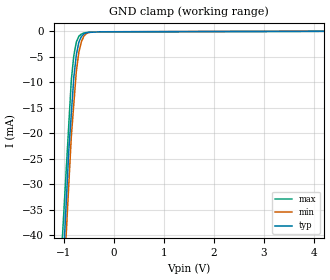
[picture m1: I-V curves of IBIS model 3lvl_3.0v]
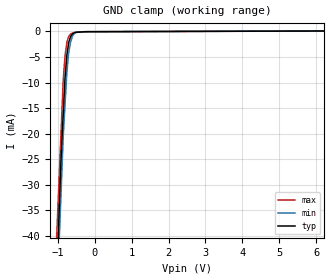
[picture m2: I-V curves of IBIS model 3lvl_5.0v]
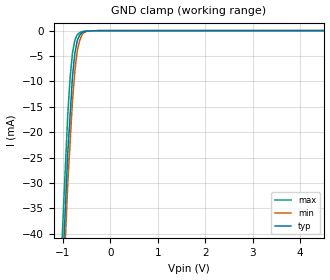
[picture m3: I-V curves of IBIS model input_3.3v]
| Teraspeed Labs Modeling Services.
| http://www.teraspeedlabs.com
[IBIS Ver]  4.0
[File Name] ltc4306iufd.ibs
[File Rev]  3.0
[Source]  Measured and created by Teraspeed Labs
[Date]   02/04/2019
[Notes]   Quality Check of this IBIS model: Model Passes IBIS Check
   Model parses into ICX IS. Simulation done with Hyperlynx.
   1. MIN TYP MAX information is based on Temperature and
   Voltage characteristics only.
   2. Package data gained using Tektronix Iconnect Software.
[Disclaimer]
| Use: Teraspeed (R) Labs has licensed Teraspeed (R) AccuModel (tm)
| IBIS models to specific integrated circuit suppliers ("IC Vendors")
| for use and distribution as  follows: Each IC Vendor may use IBIS
| Models, and distribute them to IC Vendor's customers to use solely
| for developing printed circuit board designs. Users of this model may
| modify the IBIS model to suit its specific applications but
| rights to derivative works and such modifications shall belong
| to Teraspeed (R) Labs. No other distribution of these materials is
| permitted.
| DISCLAIMER OF WARRANTY: UNLESS OTHERWISE AGREED TO IN WRITING
| TERASPEED (R) LABS DISCLAIMS AND USER WAIVES ALL WARRANTIES,
| EXPRESS OR IMPLIED, INCLUDING WARRANTIES OF MERCHANTABILITY AND
| FITNESS FOR A PARTICULAR PURPOSE. IN NO EVENT SHALL
| TERASPEED BE LIABLE FOR ANY DIRECT OR INDIRECT DAMAGES,
| WHETHER IN CONTRACT OR TORT, INCLUDING, WITHOUT LIMITATION,
| LOST PROFITS, BUSINESS INTERRUPTION, OR LOST INFORMATION
| ARISING OUT OF THE USE OF OR THE INABILITY TO USE THE MODEL,
| EVEN IF TERASPEED (R) Labs HAS BEEN ADVISED OF THE POSSIBILITY
| OF SUCH DAMAGES.
[Copyright]
| This file is the legal property of Teraspeed Labs Copyright(c) 2019.
| All other rights are reserved.
[Component]   LTC4306IUFD
[Manufacturer] Analog Devices
| Data Sheet Ver: 4306f
[Package]
| UFD Package: 24 Lead(4mm x 5mm) Plastic QFN
| variable   typ   min   max
R_pkg  1.000E-02  1.000E-02  1.000E-02
L_pkg  2.413E-09  1.780E-09  2.620E-09
C_pkg  7.874E-13  6.920E-13  8.900E-12
[Pin] signal_name  model_name  R_pin  L_pin C_pin
1   *ALERT   od_out   1.000E-02   2.150E-09   8.900E-13
2   SDAIN   i2c_io   1.000E-02   2.160E-09   8.410E-13
3   GND   GND   1.000E-02   2.170E-09   7.920E-13
4   SCLIN   i2c_io   1.000E-02   2.180E-09   7.430E-13
5   ENABLE   enable_in   1.000E-02   2.170E-09   7.920E-13
6   VCC   POWER   1.000E-02   2.160E-09   8.410E-13
7   *ALERT4   alert_in   1.000E-02   2.150E-09   8.900E-13
8   GPIO1   gpio1   1.000E-02   1.780E-09   6.920E-13
9   GPIO2   gpio2   1.000E-02   2.200E-09   7.420E-13
10   ADR0   i2c_add   1.000E-02   2.620E-09   7.920E-13
11   ADR1   i2c_add   1.000E-02   2.200E-09   7.420E-13
12   ADR2   i2c_add   1.000E-02   1.780E-09   6.920E-13
13   READY   od_out   1.000E-02   2.150E-09   8.900E-13
14   SDA4   i2c_io4   1.000E-02   2.160E-09   8.410E-13
15   SCL4   i2c_io4   1.000E-02   2.170E-09   7.920E-13
16   SCL1   i2c_io1   1.000E-02   2.180E-09   7.430E-13
17   SDA1   i2c_io1   1.000E-02   2.170E-09   7.920E-13
18   *ALERT1   alert_in   1.000E-02   2.160E-09   8.410E-13
19   *ALERT3   alert_in   1.000E-02   2.150E-09   8.900E-13
20   SDA2   i2c_io2   1.000E-02   1.780E-09   6.920E-13
21   SCL2   i2c_io2   1.000E-02   2.200E-09   7.420E-13
22   *ALERT2   alert_in   1.000E-02   2.620E-09   7.920E-13
23   SCL3   i2c_io3   1.000E-02   2.200E-09   7.420E-13
24   SDA3   i2c_io3   1.000E-02   1.780E-09   6.920E-13
25   EPAD   GND   0.000E+00   0.000E+00   0.000E+00
[Model selector] alert_in
input_3.0v   alert input,vcc=3.0v
input_3.3v   alert input,vcc=3.3v
input_5.0v   alert input,vcc=5.0v
[Model selector] enable_in
input_3.0v   enable input,vcc=3.0v
input_3.3v   enable input,vcc=3.3v
input_5.0v   enable input,vcc=5.0v
[Model selector] i2c_add
3lvl_3.0v   3lvl i2c add pin,vcc=3.0v
3lvl_3.3v   3lvl i2c add pin,vcc=3.3v
3lvl_5.0v   3lvl i2c add pin,vcc=5.0v
[Model selector] gpio1
gpio_od_3.0v   open drain io,vcc=3.0v |default
gpio_od_3.3v   open drain io,vcc=3.3v |default
gpio_od_5.0v   open drain io,vcc=5.0v |default
gpio_pp_3.0v   push-pull io,vcc=3.0v
gpio_pp_3.3v   push-pull io,vcc=3.3v
gpio_pp_5.0v   push-pull io,vcc=5.0v
[Model selector] gpio2
gpio_od_3.0v   open drain io,vcc=3.0v |default
gpio_od_3.3v   open drain io,vcc=3.3v |default
gpio_od_5.0v   open drain io,vcc=5.0v |default
gpio_pp_3.0v   push-pull io,vcc=3.0v
gpio_pp_3.3v   push-pull io,vcc=3.3v
gpio_pp_5.0v   push-pull io,vcc=5.0v
[Model selector] od_out
od_3.0v   open drain out,vcc=3.0v
od_3.3v   open drain out,vcc=3.3v
od_5.0v   open drain out,vcc=5.0v
| Upstream buffers(chan in)
[Model selector] i2c_io
i2c_3.0v_pu2.5v  i2c io,3.0vcc,pu2.5v
i2c_3.0v_pu3.0v  i2c io,3.0vcc,pu3.0v
i2c_3.0v_pu3.3v  i2c io,3.0vcc,pu3.0v
i2c_3.0v_pu5.0v  i2c io,3.0vcc,pu5.0v
i2c_3.3v_pu2.5v  i2c io,3.3vcc,pu2.5v
i2c_3.3v_pu3.0v  i2c io,3.3vcc,pu3.0v
i2c_3.3v_pu3.3v  i2c io,3.3vcc,pu3.3v
i2c_3.3v_pu5.0v  i2c io,3.3vcc,pu5.0v
i2c_5.0v_pu2.5v  i2c io,5.0vcc,pu2.5v
i2c_5.0v_pu3.0v  i2c io,5.0vcc,pu3.0v
i2c_5.0v_pu3.3v  i2c io,5.0vcc,pu3.3v
i2c_5.0v_pu5.0v  i2c io,5.0vcc,pu5.0v
| Downstream buffers(chan 1 thru 4)
[Model selector] i2c_io1
i2c_3.0v_pu2.5v  i2c io,3.0vcc,pu2.5v
i2c_3.0v_pu3.0v  i2c io,3.0vcc,pu3.0v
i2c_3.0v_pu3.3v  i2c io,3.0vcc,pu3.0v
i2c_3.0v_pu5.0v  i2c io,3.0vcc,pu5.0v
i2c_3.3v_pu2.5v  i2c io,3.3vcc,pu2.5v
i2c_3.3v_pu3.0v  i2c io,3.3vcc,pu3.0v
i2c_3.3v_pu3.3v  i2c io,3.3vcc,pu3.3v
i2c_3.3v_pu5.0v  i2c io,3.3vcc,pu5.0v
i2c_5.0v_pu2.5v  i2c io,5.0vcc,pu2.5v
i2c_5.0v_pu3.0v  i2c io,5.0vcc,pu3.0v
i2c_5.0v_pu3.3v  i2c io,5.0vcc,pu3.3v
i2c_5.0v_pu5.0v  i2c io,5.0vcc,pu5.0v
[Model selector] i2c_io2
i2c_3.0v_pu2.5v  i2c io,3.0vcc,pu2.5v
i2c_3.0v_pu3.0v  i2c io,3.0vcc,pu3.0v
i2c_3.0v_pu3.3v  i2c io,3.0vcc,pu3.0v
i2c_3.0v_pu5.0v  i2c io,3.0vcc,pu5.0v
i2c_3.3v_pu2.5v  i2c io,3.3vcc,pu2.5v
i2c_3.3v_pu3.0v  i2c io,3.3vcc,pu3.0v
i2c_3.3v_pu3.3v  i2c io,3.3vcc,pu3.3v
i2c_3.3v_pu5.0v  i2c io,3.3vcc,pu5.0v
i2c_5.0v_pu2.5v  i2c io,5.0vcc,pu2.5v
i2c_5.0v_pu3.0v  i2c io,5.0vcc,pu3.0v
i2c_5.0v_pu3.3v  i2c io,5.0vcc,pu3.3v
i2c_5.0v_pu5.0v  i2c io,5.0vcc,pu5.0v
[Model selector] i2c_io3
i2c_3.0v_pu2.5v  i2c io,3.0vcc,pu2.5v
i2c_3.0v_pu3.0v  i2c io,3.0vcc,pu3.0v
i2c_3.0v_pu3.3v  i2c io,3.0vcc,pu3.0v
i2c_3.0v_pu5.0v  i2c io,3.0vcc,pu5.0v
i2c_3.3v_pu2.5v  i2c io,3.3vcc,pu2.5v
i2c_3.3v_pu3.0v  i2c io,3.3vcc,pu3.0v
i2c_3.3v_pu3.3v  i2c io,3.3vcc,pu3.3v
i2c_3.3v_pu5.0v  i2c io,3.3vcc,pu5.0v
i2c_5.0v_pu2.5v  i2c io,5.0vcc,pu2.5v
i2c_5.0v_pu3.0v  i2c io,5.0vcc,pu3.0v
i2c_5.0v_pu3.3v  i2c io,5.0vcc,pu3.3v
i2c_5.0v_pu5.0v  i2c io,5.0vcc,pu5.0v
[Model selector] i2c_io4
i2c_3.0v_pu2.5v  i2c io,3.0vcc,pu2.5v
i2c_3.0v_pu3.0v  i2c io,3.0vcc,pu3.0v
i2c_3.0v_pu3.3v  i2c io,3.0vcc,pu3.0v
i2c_3.0v_pu5.0v  i2c io,3.0vcc,pu5.0v
i2c_3.3v_pu2.5v  i2c io,3.3vcc,pu2.5v
i2c_3.3v_pu3.0v  i2c io,3.3vcc,pu3.0v
i2c_3.3v_pu3.3v  i2c io,3.3vcc,pu3.3v
i2c_3.3v_pu5.0v  i2c io,3.3vcc,pu5.0v
i2c_5.0v_pu2.5v  i2c io,5.0vcc,pu2.5v
i2c_5.0v_pu3.0v  i2c io,5.0vcc,pu3.0v
i2c_5.0v_pu3.3v  i2c io,5.0vcc,pu3.3v
i2c_5.0v_pu5.0v  i2c io,5.0vcc,pu5.0v
| Models and submodels in the file (27): 3lvl_3.0v (Input), 3lvl_3.3v (Input), 3lvl_5.0v (Input), input_3.0v (Input), input_3.3v (Input), input_5.0v (Input), i2c_3.0v_pu2.5v (I/O_open_drain), i2c_3.0v_pu3.0v (I/O_open_drain), i2c_3.0v_pu3.3v (I/O_open_drain), i2c_3.0v_pu5.0v (I/O_open_drain), i2c_3.3v_pu2.5v (I/O_open_drain), i2c_3.3v_pu3.0v (I/O_open_drain), i2c_3.3v_pu3.3v (I/O_open_drain), i2c_3.3v_pu5.0v (I/O_open_drain), i2c_5.0v_pu2.5v (I/O_open_drain), i2c_5.0v_pu3.0v (I/O_open_drain), i2c_5.0v_pu3.3v (I/O_open_drain), i2c_5.0v_pu5.0v (I/O_open_drain), gpio_od_3.0v (I/O_open_drain), gpio_od_3.3v (I/O_open_drain), gpio_od_5.0v (I/O_open_drain), gpio_pp_3.0v (I/O), gpio_pp_3.3v (I/O), gpio_pp_5.0v (I/O), od_3.0v (Open_drain), od_3.3v (Open_drain), od_5.0v (Open_drain)
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[Model] 3lvl_3.0v
Model_type Input
Vinl = 300.000mV
Vinh = 2.70000V
C_comp 584.000fF 538.000fF 630.000fF
[Model spec]
Vinl  0.300   0.270   0.330
Vinh  2.700   2.430   2.970
| variable typ   min   max
[Voltage Range] 3.00000V 2.70000V 3.30000V
[POWER Clamp Reference] 3.00000V 2.70000V 3.30000V
[GND Clamp Reference] 0.00000V 0.00000V 0.00000V
[Temperature Range]   25   85   -40
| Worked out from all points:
|   GND clamp passes 1 mA (typ) near -0.65 V on its own axis
[GND Clamp]
-3V       -438.1mA   -424.3mA   -381.3mA
-900mV    -23.28mA   -29.94mA   -18.16mA
-850mV    -16.13mA   -20.55mA   -9.512mA
-800mV    -8.97mA    -14.2mA    -4.725mA
-750mV    -4.583mA   -7.847mA   -2.081mA
-700mV    -2.106mA   -4.097mA   -949.1uA
-650mV    -1.014mA   -2.065mA   -519.8uA
-600mV    -481.7uA   -915.3uA   -314.3uA
-550mV    -261.3uA   -413.8uA   -209.1uA
-450mV    -146.2uA   -125.8uA   -157.8uA
6V        71.66uA    77.85uA    65.66uA
[POWER Clamp]
-3V       0A         0A         0A
6V        0A         0A         0A
[Model] 3lvl_5.0v
Model_type Input
Vinl = 500.000mV
Vinh = 4.50000V
C_comp 584.000fF 538.000fF 630.000fF
[Model spec]
Vinl  0.500   0.450   0.550
Vinh  4.500   4.050   4.950
| variable typ   min   max
[Voltage Range] 5.00000V 4.50000V 5.50000V
[POWER Clamp Reference] 5.00000V 4.50000V 5.50000V
[GND Clamp Reference] 0.00000V 0.00000V 0.00000V
[Temperature Range]   25   85   -40
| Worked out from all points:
|   GND clamp passes 1 mA (typ) near -0.65 V on its own axis
[GND Clamp]
-5V       -833.2mA   -799.8mA   -727.2mA
-900mV    -23.28mA   -29.94mA   -18.16mA
-850mV    -16.13mA   -20.55mA   -9.512mA
-800mV    -8.97mA    -14.2mA    -4.725mA
-750mV    -4.583mA   -7.847mA   -2.081mA
-700mV    -2.106mA   -4.097mA   -949.1uA
-650mV    -1.014mA   -2.065mA   -519.8uA
-600mV    -481.7uA   -915.3uA   -314.3uA
-550mV    -261.3uA   -413.8uA   -209.1uA
-500mV    -166.7uA   -208.7uA   -183.4uA
-225mV    -63.41uA   -55.65uA   -67uA
10V       158.5uA    163.6uA    150.9uA
[POWER Clamp]
-5V       0A         0A         0A
10V       0A         0A         0A
[Model] input_3.3v
Model_type Input
Vinl = 800.000mV
Vinh = 1.20000V
C_comp 435.000fF 393.000fF 477.000fF
|[Model spec]
|Vinl
|Vinh
| variable typ   min   max
[Voltage Range] 3.30000V 2.97000V 3.63000V
[POWER Clamp Reference] 3.30000V 2.97000V 3.63000V
[GND Clamp Reference] 0.00000V 0.00000V 0.00000V
[Temperature Range]   25   85   -40
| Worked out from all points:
|   GND clamp passes 1 mA (typ) near -0.65 V on its own axis
[GND Clamp]
-3.3V     -534mA     -544.9mA   -507.9mA
-900mV    -24.18mA   -30.25mA   -16.58mA
-850mV    -16.59mA   -22mA      -9.244mA
-800mV    -9.004mA   -13.75mA   -4.406mA
-750mV    -4.483mA   -7.921mA   -1.853mA
-700mV    -1.983mA   -4.041mA   -803.8uA
-650mV    -908.6uA   -1.975mA   -410.6uA
-600mV    -395.2uA   -829.4uA   -216.9uA
-550mV    -185.8uA   -338.6uA   -125uA
-500mV    -97.66uA   -142.7uA   -103uA
-250mV    -3.794uA   -7.65uA    -3.931uA
6.6V      4.504uA    7.647uA    3.92uA
[POWER Clamp]
-3.3V     0A         0A         0A
6.6V      0A         0A         0A
